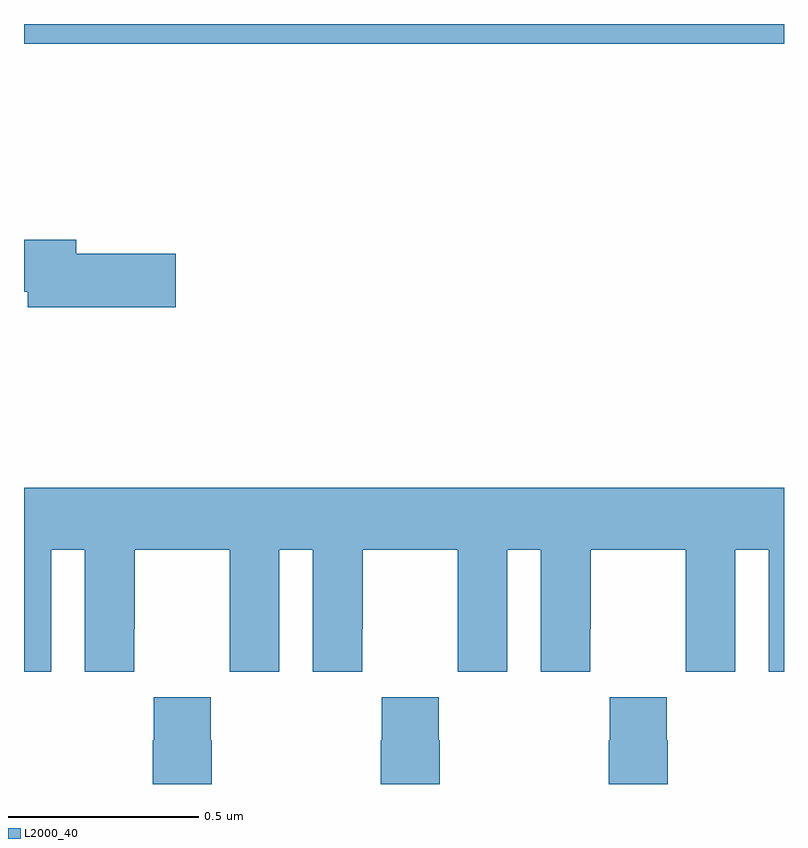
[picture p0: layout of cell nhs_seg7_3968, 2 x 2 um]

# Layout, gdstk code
import gdstk
lib = gdstk.Library(unit=1e-6, precision=1e-09)
def R(c, l, rs):  # rectangles x0, y0, x1, y1
    for r in rs: c.add(gdstk.rectangle(r[:2], r[2:], *l))
def P(c, l, *ps):  # polygons
    for p in ps: c.add(gdstk.Polygon(p, *l))
L2000_40 = (2000, 40)

nhs_seg7_3968 = lib.new_cell('nhs_seg7_3968')
R(nhs_seg7_3968, L2000_40, [(166,1001.948,168,1002)])
P(nhs_seg7_3968, L2000_40, [(166.399,1001.396),(166.138,1001.396),(166.138,1001.432),(166,1001.432),(166,1001.296),(166.01,1001.296),(166.01,1001.254),(166.399,1001.254)],
  [(166.072,1000.616),(166.16,1000.616),(166.16,1000.296),(166.29,1000.296),(166.29,1000.408),(166.291,1000.408),(166.291,1000.616),(166.541,1000.616),(166.541,1000.408),(166.542,1000.408),(166.542,1000.296),(166.672,1000.296),(166.672,1000.616),(166.76,1000.616),(166.76,1000.296),(166.89,1000.296),(166.89,1000.408),(166.891,1000.408),(166.891,1000.616),(167.141,1000.616),(167.141,1000.408),(167.142,1000.408),(167.142,1000.296),(167.272,1000.296),(167.272,1000.616),(167.36,1000.616),(167.36,1000.296),(167.49,1000.296),(167.49,1000.408),(167.491,1000.408),(167.491,1000.616),(167.741,1000.616),(167.741,1000.408),(167.742,1000.408),(167.742,1000.296),(167.872,1000.296),(167.872,1000.616),(167.96,1000.616),(167.96,1000.296),(168,1000.296),(168,1000.78),(166,1000.78),(166,1000.296),(166.072,1000.296)],
  [(166.494,1000.115),(166.491,1000.115),(166.491,1000.228),(166.341,1000.228),(166.341,1000.115),(166.339,1000.115),(166.339,1000),(166.494,1000)],
  [(167.094,1000.115),(167.091,1000.115),(167.091,1000.228),(166.941,1000.228),(166.941,1000.115),(166.939,1000.115),(166.939,1000),(167.094,1000)],
  [(167.694,1000.115),(167.691,1000.115),(167.691,1000.228),(167.541,1000.228),(167.541,1000.115),(167.539,1000.115),(167.539,1000),(167.694,1000)])

lib.write_gds('nhs_seg7_3968.gds')
